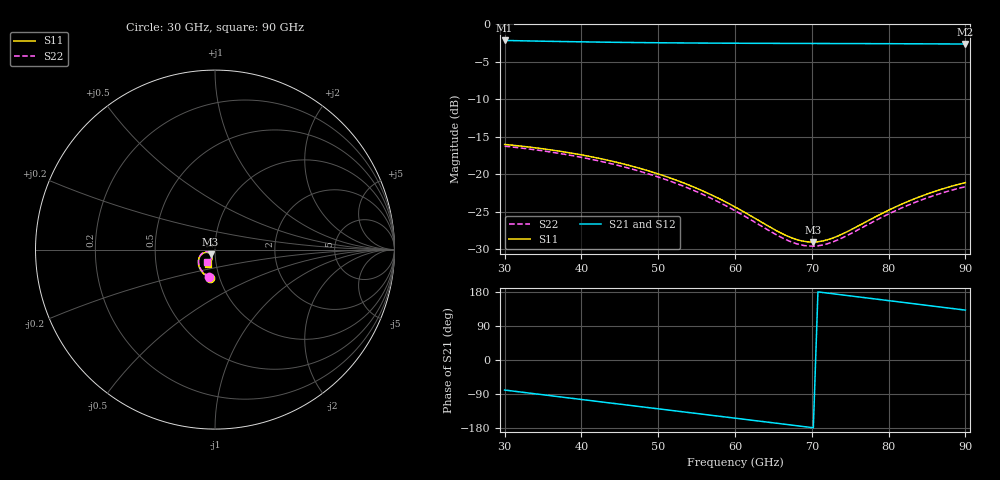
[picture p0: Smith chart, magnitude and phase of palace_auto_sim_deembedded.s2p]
! Created with skrf 1.11.0 (http://scikit-rf.org).
# GHz S DB R 50.0
!freq dBS11 angS11 dBS21 angS21 dBS12 angS12 dBS22 angS22
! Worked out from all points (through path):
!   101 points, 30 GHz to 90 GHz, reference 50 ohm
!   highest |S21| = -2.15 dB at 30 GHz (marker M1); lowest = -2.6 dB at 90 GHz (marker M2)
!   group delay of S21, straight-line fit = 6.89 ps
!   lowest |S11| = -29.0 dB at 70.2 GHz (marker M3), VSWR 1.07, Z = 47.5 - j2.41 ohm
!   |S11| at or under -10 dB: start of sweep to end of sweep
!   |S22| runs from -29.6 to -16.2 dB; largest |S21 - S12| = 8.8e-14
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30  -16.01 -100.6  -2.15 -79.2  -2.15 -79.2  -16.25 -101.5
32.4  -16.27 -107.8  -2.19 -85.3  -2.19 -85.3  -16.52 -108.8
34.8  -16.57 -114.7  -2.24 -91.3  -2.24 -91.3  -16.85 -116.0
37.2  -16.92 -121.4  -2.28 -97.2  -2.28 -97.2  -17.22 -122.9
40.2  -17.44 -129.4  -2.33 -104.7  -2.33 -104.7  -17.77 -131.1
45  -18.50 -141.2  -2.40 -116.5  -2.40 -116.5  -18.87 -143.4
47.4  -19.14 -146.6  -2.43 -122.4  -2.43 -122.4  -19.53 -149.0
50.4  -20.08 -152.7  -2.46 -129.8  -2.46 -129.8  -20.50 -155.3
55.2  -21.94 -160.3  -2.49 -141.6  -2.49 -141.6  -22.40 -163.5
57.6  -23.07 -162.7  -2.50 -147.5  -2.50 -147.5  -23.55 -166.1
60  -24.34 -163.6  -2.52 -153.5  -2.52 -153.5  -24.85 -167.2
63.6  -26.46 -160.6  -2.53 -162.4  -2.53 -162.4  -27.00 -164.4
66.6  -28.13 -152.0  -2.54 -169.8  -2.54 -169.8  -28.69 -155.9
68.4  -28.81 -143.8  -2.54 -174.3  -2.54 -174.3  -29.37 -147.8
70.2  -29.03 -134.3  -2.55 -178.8  -2.55 -178.8  -29.58 -138.3
71.4  -28.89 -128.0  -2.55 178.2  -2.55 178.2  -29.43 -132.1
73.2  -28.31 -119.8  -2.56 173.7  -2.56 173.7  -28.83 -124.0
76.8  -26.47 -109.8  -2.57 164.7  -2.57 164.7  -26.97 -114.6
80.4  -24.59 -107.2  -2.58 155.7  -2.58 155.7  -25.09 -112.5
82.8  -23.50 -108.0  -2.59 149.7  -2.59 149.7  -24.01 -113.6
85.2  -22.56 -110.0  -2.60 143.7  -2.60 143.7  -23.08 -115.9
90  -21.11 -116.3  -2.62 131.6  -2.62 131.6  -21.64 -122.7
